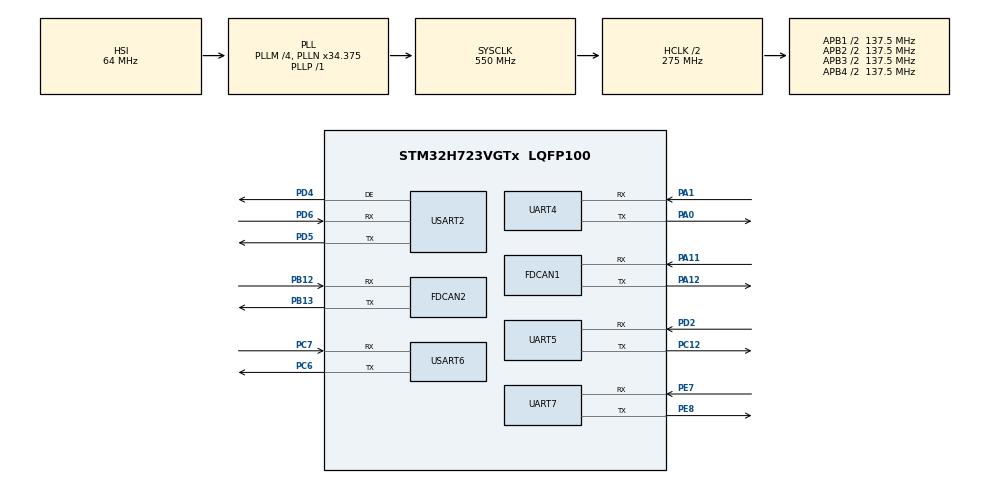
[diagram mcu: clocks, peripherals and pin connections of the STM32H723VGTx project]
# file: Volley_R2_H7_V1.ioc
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CORTEX_M7.default_mode_Activation=1
Dma.Request0=UART4_RX
Dma.Request1=UART4_TX
Dma.Request2=UART5_RX
Dma.Request3=UART5_TX
Dma.Request4=UART7_RX
Dma.Request5=UART7_TX
Dma.Request6=USART2_RX
Dma.Request7=USART2_TX
Dma.Request8=USART6_TX
Dma.Request9=USART6_RX
Dma.UART4_RX.0.Direction=DMA_PERIPH_TO_MEMORY
Dma.UART4_RX.0.EventEnable=DISABLE
Dma.UART4_RX.0.FIFOMode=DMA_FIFOMODE_DISABLE
Dma.UART4_RX.0.Instance=DMA1_Stream0
Dma.UART4_RX.0.MemDataAlignment=DMA_MDATAALIGN_BYTE
Dma.UART4_RX.0.MemInc=DMA_MINC_ENABLE
Dma.UART4_RX.0.Mode=DMA_NORMAL
Dma.UART4_RX.0.PeriphDataAlignment=DMA_PDATAALIGN_BYTE
Dma.UART4_RX.0.PeriphInc=DMA_PINC_DISABLE
Dma.UART4_RX.0.Polarity=HAL_DMAMUX_REQ_GEN_RISING
Dma.UART4_RX.0.Priority=DMA_PRIORITY_LOW
Dma.UART4_RX.0.RequestNumber=1
Dma.UART4_RX.0.SignalID=NONE
Dma.UART4_RX.0.SyncEnable=DISABLE
Dma.UART4_RX.0.SyncPolarity=HAL_DMAMUX_SYNC_NO_EVENT
Dma.UART4_RX.0.SyncRequestNumber=1
Dma.UART4_RX.0.SyncSignalID=NONE
Dma.UART4_TX.1.Direction=DMA_MEMORY_TO_PERIPH
Dma.UART4_TX.1.EventEnable=DISABLE
Dma.UART4_TX.1.FIFOMode=DMA_FIFOMODE_DISABLE
Dma.UART4_TX.1.Instance=DMA1_Stream1
Dma.UART4_TX.1.MemDataAlignment=DMA_MDATAALIGN_BYTE
Dma.UART4_TX.1.MemInc=DMA_MINC_ENABLE
Dma.UART4_TX.1.Mode=DMA_NORMAL
Dma.UART4_TX.1.PeriphDataAlignment=DMA_PDATAALIGN_BYTE
Dma.UART4_TX.1.PeriphInc=DMA_PINC_DISABLE
Dma.UART4_TX.1.Polarity=HAL_DMAMUX_REQ_GEN_RISING
Dma.UART4_TX.1.Priority=DMA_PRIORITY_LOW
Dma.UART4_TX.1.RequestNumber=1
Dma.UART4_TX.1.SignalID=NONE
Dma.UART4_TX.1.SyncEnable=DISABLE
Dma.UART4_TX.1.SyncPolarity=HAL_DMAMUX_SYNC_NO_EVENT
Dma.UART4_TX.1.SyncRequestNumber=1
Dma.UART4_TX.1.SyncSignalID=NONE
Dma.UART5_RX.2.Direction=DMA_PERIPH_TO_MEMORY
Dma.UART5_RX.2.EventEnable=DISABLE
Dma.UART5_RX.2.FIFOMode=DMA_FIFOMODE_DISABLE
Dma.UART5_RX.2.Instance=DMA1_Stream2
Dma.UART5_RX.2.MemDataAlignment=DMA_MDATAALIGN_BYTE
Dma.UART5_RX.2.MemInc=DMA_MINC_ENABLE
Dma.UART5_RX.2.Mode=DMA_NORMAL
Dma.UART5_RX.2.PeriphDataAlignment=DMA_PDATAALIGN_BYTE
Dma.UART5_RX.2.PeriphInc=DMA_PINC_DISABLE
Dma.UART5_RX.2.Polarity=HAL_DMAMUX_REQ_GEN_RISING
Dma.UART5_RX.2.Priority=DMA_PRIORITY_LOW
Dma.UART5_RX.2.RequestNumber=1
Dma.UART5_RX.2.SignalID=NONE
Dma.UART5_RX.2.SyncEnable=DISABLE
Dma.UART5_RX.2.SyncPolarity=HAL_DMAMUX_SYNC_NO_EVENT
Dma.UART5_RX.2.SyncRequestNumber=1
Dma.UART5_RX.2.SyncSignalID=NONE
Dma.UART5_TX.3.Direction=DMA_MEMORY_TO_PERIPH
Dma.UART5_TX.3.EventEnable=DISABLE
Dma.UART5_TX.3.FIFOMode=DMA_FIFOMODE_DISABLE
Dma.UART5_TX.3.Instance=DMA1_Stream3
Dma.UART5_TX.3.MemDataAlignment=DMA_MDATAALIGN_BYTE
Dma.UART5_TX.3.MemInc=DMA_MINC_ENABLE
Dma.UART5_TX.3.Mode=DMA_NORMAL
Dma.UART5_TX.3.PeriphDataAlignment=DMA_PDATAALIGN_BYTE
Dma.UART5_TX.3.PeriphInc=DMA_PINC_DISABLE
Dma.UART5_TX.3.Polarity=HAL_DMAMUX_REQ_GEN_RISING
Dma.UART5_TX.3.Priority=DMA_PRIORITY_LOW
Dma.UART5_TX.3.RequestNumber=1
Dma.UART5_TX.3.SignalID=NONE
Dma.UART5_TX.3.SyncEnable=DISABLE
Dma.UART5_TX.3.SyncPolarity=HAL_DMAMUX_SYNC_NO_EVENT
Dma.UART5_TX.3.SyncRequestNumber=1
Dma.UART5_TX.3.SyncSignalID=NONE
Dma.UART7_RX.4.Direction=DMA_PERIPH_TO_MEMORY
Dma.UART7_RX.4.EventEnable=DISABLE
Dma.UART7_RX.4.FIFOMode=DMA_FIFOMODE_DISABLE
Dma.UART7_RX.4.Instance=DMA1_Stream4
Dma.UART7_RX.4.MemDataAlignment=DMA_MDATAALIGN_BYTE
Dma.UART7_RX.4.MemInc=DMA_MINC_ENABLE
Dma.UART7_RX.4.Mode=DMA_NORMAL
Dma.UART7_RX.4.PeriphDataAlignment=DMA_PDATAALIGN_BYTE
Dma.UART7_RX.4.PeriphInc=DMA_PINC_DISABLE
Dma.UART7_RX.4.Polarity=HAL_DMAMUX_REQ_GEN_RISING
Dma.UART7_RX.4.Priority=DMA_PRIORITY_LOW
Dma.UART7_RX.4.RequestNumber=1
Dma.UART7_RX.4.SignalID=NONE
Dma.UART7_RX.4.SyncEnable=DISABLE
Dma.UART7_RX.4.SyncPolarity=HAL_DMAMUX_SYNC_NO_EVENT
Dma.UART7_RX.4.SyncRequestNumber=1
Dma.UART7_RX.4.SyncSignalID=NONE
Dma.UART7_TX.5.Direction=DMA_MEMORY_TO_PERIPH
Dma.UART7_TX.5.EventEnable=DISABLE
Dma.UART7_TX.5.FIFOMode=DMA_FIFOMODE_DISABLE
Dma.UART7_TX.5.Instance=DMA1_Stream5
Dma.UART7_TX.5.MemDataAlignment=DMA_MDATAALIGN_BYTE
Dma.UART7_TX.5.MemInc=DMA_MINC_ENABLE
Dma.UART7_TX.5.Mode=DMA_NORMAL
Dma.UART7_TX.5.PeriphDataAlignment=DMA_PDATAALIGN_BYTE
Dma.UART7_TX.5.PeriphInc=DMA_PINC_DISABLE
Dma.UART7_TX.5.Polarity=HAL_DMAMUX_REQ_GEN_RISING
Dma.UART7_TX.5.Priority=DMA_PRIORITY_LOW
Dma.UART7_TX.5.RequestNumber=1
Dma.UART7_TX.5.SignalID=NONE
Dma.UART7_TX.5.SyncEnable=DISABLE
Dma.UART7_TX.5.SyncPolarity=HAL_DMAMUX_SYNC_NO_EVENT
Dma.UART7_TX.5.SyncRequestNumber=1
Dma.UART7_TX.5.SyncSignalID=NONE
Dma.USART2_RX.6.Direction=DMA_PERIPH_TO_MEMORY
Dma.USART2_RX.6.EventEnable=DISABLE
Dma.USART2_RX.6.FIFOMode=DMA_FIFOMODE_DISABLE
Dma.USART2_RX.6.Instance=DMA1_Stream6
Dma.USART2_RX.6.MemDataAlignment=DMA_MDATAALIGN_BYTE
Dma.USART2_RX.6.MemInc=DMA_MINC_ENABLE
Dma.USART2_RX.6.Mode=DMA_NORMAL
Dma.USART2_RX.6.PeriphDataAlignment=DMA_PDATAALIGN_BYTE
Dma.USART2_RX.6.PeriphInc=DMA_PINC_DISABLE
Dma.USART2_RX.6.Polarity=HAL_DMAMUX_REQ_GEN_RISING
Dma.USART2_RX.6.Priority=DMA_PRIORITY_VERY_HIGH
Dma.USART2_RX.6.RequestNumber=1
Dma.USART2_RX.6.SignalID=NONE
Dma.USART2_RX.6.SyncEnable=DISABLE
Dma.USART2_RX.6.SyncPolarity=HAL_DMAMUX_SYNC_NO_EVENT
Dma.USART2_RX.6.SyncRequestNumber=1
Dma.USART2_RX.6.SyncSignalID=NONE
Dma.USART2_TX.7.Direction=DMA_MEMORY_TO_PERIPH
Dma.USART2_TX.7.EventEnable=DISABLE
Dma.USART2_TX.7.FIFOMode=DMA_FIFOMODE_DISABLE
Dma.USART2_TX.7.Instance=DMA1_Stream7
Dma.USART2_TX.7.MemDataAlignment=DMA_MDATAALIGN_BYTE
Dma.USART2_TX.7.MemInc=DMA_MINC_ENABLE
Dma.USART2_TX.7.Mode=DMA_NORMAL
Dma.USART2_TX.7.PeriphDataAlignment=DMA_PDATAALIGN_BYTE
Dma.USART2_TX.7.PeriphInc=DMA_PINC_DISABLE
Dma.USART2_TX.7.Polarity=HAL_DMAMUX_REQ_GEN_RISING
Dma.USART2_TX.7.Priority=DMA_PRIORITY_VERY_HIGH
Dma.USART2_TX.7.RequestNumber=1
Dma.USART2_TX.7.SignalID=NONE
Dma.USART2_TX.7.SyncEnable=DISABLE
Dma.USART2_TX.7.SyncPolarity=HAL_DMAMUX_SYNC_NO_EVENT
Dma.USART2_TX.7.SyncRequestNumber=1
Dma.USART2_TX.7.SyncSignalID=NONE
Dma.USART6_RX.9.Direction=DMA_PERIPH_TO_MEMORY
Dma.USART6_RX.9.EventEnable=DISABLE
Dma.USART6_RX.9.FIFOMode=DMA_FIFOMODE_DISABLE
Dma.USART6_RX.9.Instance=DMA2_Stream1
Dma.USART6_RX.9.MemDataAlignment=DMA_MDATAALIGN_BYTE
Dma.USART6_RX.9.MemInc=DMA_MINC_ENABLE
Dma.USART6_RX.9.Mode=DMA_NORMAL
Dma.USART6_RX.9.PeriphDataAlignment=DMA_PDATAALIGN_BYTE
Dma.USART6_RX.9.PeriphInc=DMA_PINC_DISABLE
Dma.USART6_RX.9.Polarity=HAL_DMAMUX_REQ_GEN_RISING
Dma.USART6_RX.9.Priority=DMA_PRIORITY_LOW
Dma.USART6_RX.9.RequestNumber=1
Dma.USART6_RX.9.SignalID=NONE
Dma.USART6_RX.9.SyncEnable=DISABLE
Dma.USART6_RX.9.SyncPolarity=HAL_DMAMUX_SYNC_NO_EVENT
Dma.USART6_RX.9.SyncRequestNumber=1
Dma.USART6_RX.9.SyncSignalID=NONE
Dma.USART6_TX.8.Direction=DMA_MEMORY_TO_PERIPH
Dma.USART6_TX.8.EventEnable=DISABLE
Dma.USART6_TX.8.FIFOMode=DMA_FIFOMODE_DISABLE
Dma.USART6_TX.8.Instance=DMA2_Stream0
Dma.USART6_TX.8.MemDataAlignment=DMA_MDATAALIGN_BYTE
Dma.USART6_TX.8.MemInc=DMA_MINC_ENABLE
Dma.USART6_TX.8.Mode=DMA_NORMAL
Dma.USART6_TX.8.PeriphDataAlignment=DMA_PDATAALIGN_BYTE
Dma.USART6_TX.8.PeriphInc=DMA_PINC_DISABLE
Dma.USART6_TX.8.Polarity=HAL_DMAMUX_REQ_GEN_RISING
Dma.USART6_TX.8.Priority=DMA_PRIORITY_LOW
Dma.USART6_TX.8.RequestNumber=1
Dma.USART6_TX.8.SignalID=NONE
Dma.USART6_TX.8.SyncEnable=DISABLE
Dma.USART6_TX.8.SyncPolarity=HAL_DMAMUX_SYNC_NO_EVENT
Dma.USART6_TX.8.SyncRequestNumber=1
Dma.USART6_TX.8.SyncSignalID=NONE
FDCAN1.CalculateBaudRateNominal=1000000
FDCAN1.CalculateTimeBitNominal=1000
FDCAN1.CalculateTimeQuantumNominal=23.25581395348837
FDCAN1.ExtFiltersNbr=2
FDCAN1.NominalPrescaler=3
FDCAN1.NominalTimeSeg1=32
FDCAN1.NominalTimeSeg2=10
FDCAN1.RxFifo0ElmtsNbr=64
FDCAN1.StdFiltersNbr=2
FDCAN1.TxFifoQueueElmtsNbr=32
FDCAN2.CalculateBaudRateNominal=1000000
FDCAN2.CalculateTimeBitNominal=1000
FDCAN2.CalculateTimeQuantumNominal=23.25581395348837
FDCAN2.ExtFiltersNbr=2
FDCAN2.MessageRAMOffset=1280
FDCAN2.NominalPrescaler=3
FDCAN2.NominalTimeSeg1=32
FDCAN2.NominalTimeSeg2=10
FDCAN2.RxFifo1ElmtsNbr=64
FDCAN2.StdFiltersNbr=2
FDCAN2.TxFifoQueueElmtsNbr=32
FREERTOS.Tasks01=defaultTask,24,128,StartDefaultTask,Default,NULL,Dynamic,NULL,NULL
Mcu.Family=STM32H7
Mcu.Name=STM32H723VGTx
Mcu.Package=LQFP100
NVIC.DMA1_Stream0_IRQn=true\:5\:0\:false\:false\:true\:true\:false\:true\:true
NVIC.DMA1_Stream1_IRQn=true\:5\:0\:false\:false\:true\:true\:false\:true\:true
NVIC.DMA1_Stream2_IRQn=true\:5\:0\:false\:false\:true\:true\:false\:true\:true
NVIC.DMA1_Stream3_IRQn=true\:5\:0\:false\:false\:true\:true\:false\:true\:true
NVIC.DMA1_Stream4_IRQn=true\:5\:0\:false\:false\:true\:true\:false\:true\:true
NVIC.DMA1_Stream5_IRQn=true\:5\:0\:false\:false\:true\:true\:false\:true\:true
NVIC.DMA1_Stream6_IRQn=true\:5\:0\:false\:false\:true\:true\:false\:true\:true
NVIC.DMA1_Stream7_IRQn=true\:5\:0\:false\:false\:true\:true\:false\:true\:true
NVIC.DMA2_Stream0_IRQn=true\:5\:0\:false\:false\:true\:true\:false\:true\:true
NVIC.DMA2_Stream1_IRQn=true\:5\:0\:false\:false\:true\:true\:false\:true\:true
NVIC.FDCAN1_IT0_IRQn=true\:5\:0\:false\:false\:true\:true\:true\:true\:true
NVIC.FDCAN_CAL_IRQn=true\:5\:0\:false\:false\:true\:true\:true\:true\:true
NVIC.PriorityGroup=NVIC_PRIORITYGROUP_4
NVIC.TIM1_UP_IRQn=true\:15\:0\:false\:false\:true\:false\:false\:true\:true
NVIC.TimeBase=TIM1_UP_IRQn
NVIC.TimeBaseIP=TIM1
NVIC.UART4_IRQn=true\:5\:0\:false\:false\:true\:true\:true\:true\:true
NVIC.UART5_IRQn=true\:5\:0\:false\:false\:true\:true\:true\:true\:true
NVIC.UART7_IRQn=true\:5\:0\:false\:false\:true\:true\:true\:true\:true
NVIC.USART2_IRQn=true\:5\:0\:false\:false\:true\:true\:true\:true\:true
NVIC.USART6_IRQn=true\:5\:0\:false\:false\:true\:true\:true\:true\:true
PA0.Mode=Asynchronous
PA0.Signal=UART4_TX
PA1.Mode=Asynchronous
PA1.Signal=UART4_RX
PA11.Mode=FDCAN_Activate
PA11.Signal=FDCAN1_RX
PA12.Mode=FDCAN_Activate
PA12.Signal=FDCAN1_TX
PB12.Mode=FDCAN_Activate
PB12.Signal=FDCAN2_RX
PB13.Mode=FDCAN_Activate
PB13.Signal=FDCAN2_TX
PC12.Mode=Asynchronous
PC12.Signal=UART5_TX
PC6.Mode=Asynchronous
PC6.Signal=USART6_TX
PC7.Mode=Asynchronous
PC7.Signal=USART6_RX
PD2.Mode=Asynchronous
PD2.Signal=UART5_RX
PD4.GPIO_Speed=GPIO_SPEED_FREQ_VERY_HIGH
PD4.Mode=Hardware Flow Control (RS485)
PD4.Signal=USART2_DE
PD5.GPIO_Speed=GPIO_SPEED_FREQ_VERY_HIGH
PD5.Mode=Asynchronous
PD5.Signal=USART2_TX
PD6.GPIO_Speed=GPIO_SPEED_FREQ_VERY_HIGH
PD6.Mode=Asynchronous
PD6.Signal=USART2_RX
PE7.Mode=Asynchronous
PE7.Signal=UART7_RX
PE8.Mode=Asynchronous
PE8.Signal=UART7_TX
PH0-OSC_IN.Mode=HSE-External-Oscillator
PH0-OSC_IN.Signal=RCC_OSC_IN
PH1-OSC_OUT.Mode=HSE-External-Oscillator
PH1-OSC_OUT.Signal=RCC_OSC_OUT
ProjectManager.HeapSize=0x200
ProjectManager.StackSize=0x400
ProjectManager.TargetToolchain=MDK-ARM V5.32
RCC.ADCFreq_Value=129000000
RCC.APB1Freq_Value=137500000
RCC.APB2Freq_Value=137500000
RCC.APB3Freq_Value=137500000
RCC.APB4Freq_Value=137500000
RCC.CortexFreq_Value=550000000
RCC.D1PPRE=RCC_APB3_DIV2
RCC.D2PPRE1=RCC_APB1_DIV2
RCC.D2PPRE2=RCC_APB2_DIV2
RCC.D3PPRE=RCC_APB4_DIV2
RCC.DIVM1=4
RCC.DIVN1=34
RCC.DIVP1=1
RCC.DIVQ1=4
RCC.FDCANCLockSelection=RCC_FDCANCLKSOURCE_PLL2
RCC.HCLKFreq_Value=275000000
RCC.HPRE=RCC_HCLK_DIV2
RCC.PLL1_VCO_SEL-AdvancedSettings=RCC_PLL1VCOWIDE
RCC.PLL2FRACN=0
RCC.PLL3FRACN=0
RCC.PLLFRACN=3072
RCC.SYSCLKFreq_VALUE=550000000
RCC.SYSCLKSource=RCC_SYSCLKSOURCE_PLLCLK
RCC.USBFreq_Value=137500000
USART2.VirtualMode-Asynchronous=VM_ASYNC
USART2.VirtualMode-Hardware\ Flow\ Control\ (RS485)=VM_ASYNC
USART6.VirtualMode=VM_ASYNC
VP_FREERTOS_VS_CMSIS_V2.Mode=CMSIS_V2
VP_MEMORYMAP_VS_MEMORYMAP.Mode=CurAppReg
VP_SYS_VS_tim1.Mode=TIM1
board=custom

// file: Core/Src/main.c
/* USER CODE BEGIN Header */
/**
  ******************************************************************************
  * @file           : main.c
  * @brief          : Main program body
  ******************************************************************************
  * @attention
  *
  * Copyright (c) 2026 STMicroelectronics.
  * All rights reserved.
  *
  * This software is licensed under terms that can be found in the LICENSE file
  * in the root directory of this software component.
  * If no LICENSE file comes with this software, it is provided AS-IS.
  *
  ******************************************************************************
  */
/* USER CODE END Header */
#include "main.h"
#include "cmsis_os.h"
#include "dma.h"
#include "fdcan.h"
#include "usart.h"
#include "gpio.h"

/* USER CODE BEGIN Includes */
#include "FDCANDriver.h"
/* USER CODE END Includes */

void SystemClock_Config(void);
void PeriphCommonClock_Config(void);
void MX_FREERTOS_Init(void);

int main(void)
{

  /* MCU Configuration--------------------------------------------------------*/

  /* Reset of all peripherals, Initializes the Flash interface and the Systick. */
  HAL_Init();

  /* Configure the system clock */
  SystemClock_Config();

  /* Configure the peripherals common clocks */
  PeriphCommonClock_Config();

  /* Initialize all configured peripherals */
  MX_GPIO_Init();
  MX_DMA_Init();
  MX_FDCAN1_Init();
  MX_FDCAN2_Init();
  MX_UART4_Init();
  MX_UART5_Init();
  MX_UART7_Init();
  MX_USART2_UART_Init();
  MX_USART6_UART_Init();
  /* USER CODE BEGIN 2 */

	FDCAN_Filter_Init(&hfdcan1);
	FDCAN_Filter_Init(&hfdcan2);

	HAL_FDCAN_ActivateNotification(&hfdcan1, FDCAN_IT_RX_FIFO0_NEW_MESSAGE, 0);
	HAL_FDCAN_ActivateNotification(&hfdcan2, FDCAN_IT_RX_FIFO1_NEW_MESSAGE, 0);
	HAL_FDCAN_ActivateNotification(&hfdcan1, FDCAN_IT_TX_FIFO_EMPTY, 0);
	HAL_FDCAN_ActivateNotification(&hfdcan2, FDCAN_IT_TX_FIFO_EMPTY, 0);

	HAL_FDCAN_Start(&hfdcan1);
	HAL_FDCAN_Start(&hfdcan2);

  /* USER CODE END 2 */

  /* Init scheduler */
  osKernelInitialize();  /* Call init function for freertos objects (in cmsis_os2.c) */
  MX_FREERTOS_Init();

  /* Start scheduler */
  osKernelStart();

  /* We should never get here as control is now taken by the scheduler */

  /* Infinite loop */
  while (1)
  {

  }
}

void SystemClock_Config(void)
{
  RCC_OscInitTypeDef RCC_OscInitStruct = {0};
  RCC_ClkInitTypeDef RCC_ClkInitStruct = {0};

  /** Supply configuration update enable
  */
  HAL_PWREx_ConfigSupply(PWR_LDO_SUPPLY);

  /** Configure the main internal regulator output voltage
  */
  __HAL_PWR_VOLTAGESCALING_CONFIG(PWR_REGULATOR_VOLTAGE_SCALE0);

  while(!__HAL_PWR_GET_FLAG(PWR_FLAG_VOSRDY)) {}

  /** Initializes the RCC Oscillators according to the specified parameters
  * in the RCC_OscInitTypeDef structure.
  */
  RCC_OscInitStruct.OscillatorType = RCC_OSCILLATORTYPE_HSI;
  RCC_OscInitStruct.HSIState = RCC_HSI_DIV1;
  RCC_OscInitStruct.HSICalibrationValue = 64;
  RCC_OscInitStruct.PLL.PLLState = RCC_PLL_ON;
  RCC_OscInitStruct.PLL.PLLSource = RCC_PLLSOURCE_HSI;
  RCC_OscInitStruct.PLL.PLLM = 4;
  RCC_OscInitStruct.PLL.PLLN = 34;
  RCC_OscInitStruct.PLL.PLLP = 1;
  RCC_OscInitStruct.PLL.PLLQ = 4;
  RCC_OscInitStruct.PLL.PLLR = 2;
  RCC_OscInitStruct.PLL.PLLRGE = RCC_PLL1VCIRANGE_3;
  RCC_OscInitStruct.PLL.PLLVCOSEL = RCC_PLL1VCOWIDE;
  RCC_OscInitStruct.PLL.PLLFRACN = 3072;
  if (HAL_RCC_OscConfig(&RCC_OscInitStruct) != HAL_OK)
  {
    Error_Handler();
  }

  /** Initializes the CPU, AHB and APB buses clocks
  */
  RCC_ClkInitStruct.ClockType = RCC_CLOCKTYPE_HCLK|RCC_CLOCKTYPE_SYSCLK
                              |RCC_CLOCKTYPE_PCLK1|RCC_CLOCKTYPE_PCLK2
                              |RCC_CLOCKTYPE_D3PCLK1|RCC_CLOCKTYPE_D1PCLK1;
  RCC_ClkInitStruct.SYSCLKSource = RCC_SYSCLKSOURCE_PLLCLK;
  RCC_ClkInitStruct.SYSCLKDivider = RCC_SYSCLK_DIV1;
  RCC_ClkInitStruct.AHBCLKDivider = RCC_HCLK_DIV2;
  RCC_ClkInitStruct.APB3CLKDivider = RCC_APB3_DIV2;
  RCC_ClkInitStruct.APB1CLKDivider = RCC_APB1_DIV2;
  RCC_ClkInitStruct.APB2CLKDivider = RCC_APB2_DIV2;
  RCC_ClkInitStruct.APB4CLKDivider = RCC_APB4_DIV2;

  if (HAL_RCC_ClockConfig(&RCC_ClkInitStruct, FLASH_LATENCY_3) != HAL_OK)
  {
    Error_Handler();
  }
}

void PeriphCommonClock_Config(void)
{
  RCC_PeriphCLKInitTypeDef PeriphClkInitStruct = {0};

  /** Initializes the peripherals clock
  */
  PeriphClkInitStruct.PeriphClockSelection = RCC_PERIPHCLK_FDCAN;
  PeriphClkInitStruct.PLL2.PLL2M = 32;
  PeriphClkInitStruct.PLL2.PLL2N = 129;
  PeriphClkInitStruct.PLL2.PLL2P = 2;
  PeriphClkInitStruct.PLL2.PLL2Q = 2;
  PeriphClkInitStruct.PLL2.PLL2R = 2;
  PeriphClkInitStruct.PLL2.PLL2RGE = RCC_PLL2VCIRANGE_1;
  PeriphClkInitStruct.PLL2.PLL2VCOSEL = RCC_PLL2VCOWIDE;
  PeriphClkInitStruct.PLL2.PLL2FRACN = 0;
  PeriphClkInitStruct.FdcanClockSelection = RCC_FDCANCLKSOURCE_PLL2;
  if (HAL_RCCEx_PeriphCLKConfig(&PeriphClkInitStruct) != HAL_OK)
  {
    Error_Handler();
  }
}

void HAL_TIM_PeriodElapsedCallback(TIM_HandleTypeDef *htim)
{
  if (htim->Instance == TIM1)
  {
    HAL_IncTick();
  }
}

void Error_Handler(void)
{
  __disable_irq();
  while (1)
  {
  }
}

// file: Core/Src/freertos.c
/* USER CODE BEGIN Header */
/**
  ******************************************************************************
  * File Name          : freertos.c
  * Description        : Code for freertos applications
  ******************************************************************************
  * @attention
  *
  * Copyright (c) 2026 STMicroelectronics.
  * All rights reserved.
  *
  * This software is licensed under terms that can be found in the LICENSE file
  * in the root directory of this software component.
  * If no LICENSE file comes with this software, it is provided AS-IS.
  *
  ******************************************************************************
  */
/* USER CODE END Header */

#include "FreeRTOS.h"
#include "task.h"
#include "main.h"
#include "cmsis_os.h"

/* USER CODE BEGIN Includes */
#include "semphr.h"
#include "Task_Init.h"
/* USER CODE END Includes */

/* USER CODE BEGIN PD */
SemaphoreHandle_t remote_semaphore;
/* USER CODE END PD */

/* Definitions for defaultTask */
osThreadId_t defaultTaskHandle;
const osThreadAttr_t defaultTask_attributes = {
  .name = "defaultTask",
  .stack_size = 128 * 4,
  .priority = (osPriority_t) osPriorityNormal,
};

void StartDefaultTask(void *argument);

void MX_FREERTOS_Init(void); /* (MISRA C 2004 rule 8.1) */

void MX_FREERTOS_Init(void) {

  /* USER CODE BEGIN RTOS_SEMAPHORES */
  /* add semaphores, ... */
remote_semaphore=xSemaphoreCreateBinary();
  /* USER CODE END RTOS_SEMAPHORES */

  /* Create the thread(s) */
  /* creation of defaultTask */
  defaultTaskHandle = osThreadNew(StartDefaultTask, NULL, &defaultTask_attributes);

}

void StartDefaultTask(void *argument)
{
  /* USER CODE BEGIN StartDefaultTask */
	Task_Init();
	vTaskDelete(NULL);
  /* Infinite loop */
  for(;;)
  {
    osDelay(1);
  }
  /* USER CODE END StartDefaultTask */
}
